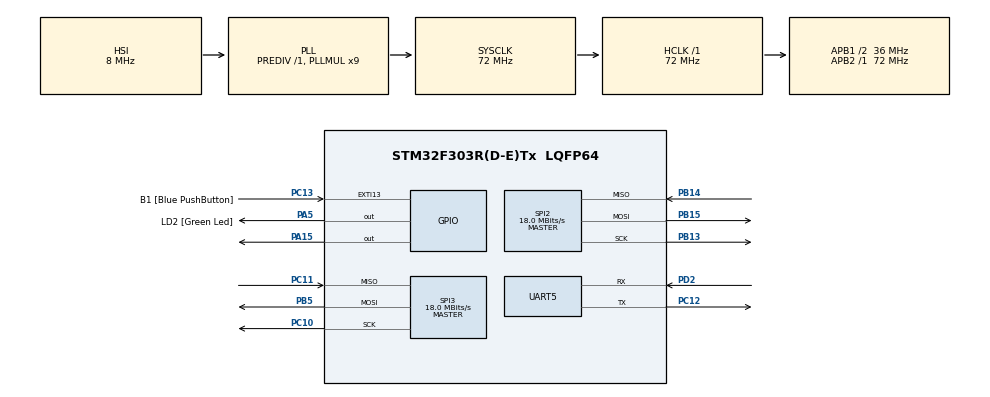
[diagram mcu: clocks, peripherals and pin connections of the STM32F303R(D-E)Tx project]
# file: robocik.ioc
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Mcu.Family=STM32F3
Mcu.Name=STM32F303R(D-E)Tx
Mcu.Package=LQFP64
NVIC.PriorityGroup=NVIC_PRIORITYGROUP_0
PA13.GPIO_Label=TMS
PA13.Signal=SYS_JTMS-SWDIO
PA14.GPIO_Label=TCK
PA14.Signal=SYS_JTCK-SWCLK
PA15.Signal=GPIO_Output
PA2.GPIO_Label=USART_TX
PA2.GPIO_Mode=GPIO_MODE_AF_PP
PA2.GPIO_PuPd=GPIO_NOPULL
PA2.GPIO_Speed=GPIO_SPEED_FREQ_LOW
PA2.Signal=USART2_TX
PA3.GPIO_Label=USART_RX
PA3.GPIO_Mode=GPIO_MODE_AF_PP
PA3.GPIO_PuPd=GPIO_NOPULL
PA3.GPIO_Speed=GPIO_SPEED_FREQ_LOW
PA3.Signal=USART2_RX
PA5.GPIO_Label=LD2 [Green Led]
PA5.GPIO_Mode=GPIO_MODE_OUTPUT_PP
PA5.GPIO_PuPd=GPIO_NOPULL
PA5.GPIO_Speed=GPIO_SPEED_FREQ_LOW
PA5.Signal=GPIO_Output
PB13.Mode=Full_Duplex_Master
PB13.Signal=SPI2_SCK
PB14.Mode=Full_Duplex_Master
PB14.Signal=SPI2_MISO
PB15.Mode=Full_Duplex_Master
PB15.Signal=SPI2_MOSI
PB3.GPIO_Label=SWO
PB3.Signal=SYS_JTDO-TRACESWO
PB5.Mode=Full_Duplex_Master
PB5.Signal=SPI3_MOSI
PC10.Mode=Full_Duplex_Master
PC10.Signal=SPI3_SCK
PC11.Mode=Full_Duplex_Master
PC11.Signal=SPI3_MISO
PC12.Mode=Asynchronous
PC12.Signal=UART5_TX
PC13.GPIO_Label=B1 [Blue PushButton]
PC13.GPIO_ModeDefaultEXTI=GPIO_MODE_IT_FALLING
PC13.Signal=GPXTI13
PC14-OSC32_IN.Signal=RCC_OSC32_IN
PC15-OSC32_OUT.Signal=RCC_OSC32_OUT
PD2.Mode=Asynchronous
PD2.Signal=UART5_RX
PF0-OSC_IN.Signal=RCC_OSC_IN
PF1-OSC_OUT.Signal=RCC_OSC_OUT
ProjectManager.HeapSize=0x200
ProjectManager.StackSize=0x400
ProjectManager.TargetToolchain=TrueSTUDIO
RCC.AHBFreq_Value=72000000
RCC.APB1CLKDivider=RCC_HCLK_DIV2
RCC.APB1Freq_Value=36000000
RCC.APB1TimFreq_Value=72000000
RCC.APB2Freq_Value=72000000
RCC.APB2TimFreq_Value=72000000
RCC.CortexFreq_Value=72000000
RCC.HCLKFreq_Value=72000000
RCC.HSE_VALUE=8000000
RCC.HSI_VALUE=8000000
RCC.LSE_VALUE=32768
RCC.PLLM=8
RCC.PLLMUL=RCC_PLL_MUL9
RCC.PLLN=336
RCC.PLLP=RCC_PLLP_DIV4
RCC.PLLQ=7
RCC.RCC_PLLsource_Clock_Source_FROM_HSE=RCC_HSE_PREDIV_DIV2
RCC.SYSCLKFreq_VALUE=72000000
RCC.SYSCLKSourceVirtual=RCC_SYSCLKSOURCE_PLLCLK
RCC.USBFreq_Value=72000000
SPI2.CalculateBaudRate=18.0 MBits/s
SPI2.Direction=SPI_DIRECTION_2LINES
SPI2.Mode=SPI_MODE_MASTER
SPI2.VirtualType=VM_MASTER
SPI3.CalculateBaudRate=18.0 MBits/s
SPI3.Direction=SPI_DIRECTION_2LINES
SPI3.Mode=SPI_MODE_MASTER
SPI3.VirtualType=VM_MASTER
board=NUCLEO-F303RE

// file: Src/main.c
/**
  ******************************************************************************
  * @file           : main.c
  * @brief          : Main program body
  ******************************************************************************
  ** This notice applies to any and all portions of this file
  * that are not between comment pairs USER CODE BEGIN and
  * USER CODE END. Other portions of this file, whether
  * inserted by the user or by software development tools
  * are owned by their respective copyright owners.
  *
  * COPYRIGHT(c) 2018 STMicroelectronics
  *
  * Redistribution and use in source and binary forms, with or without modification,
  * are permitted provided that the following conditions are met:
  *   1. Redistributions of source code must retain the above copyright notice,
  *      this list of conditions and the following disclaimer.
  *   2. Redistributions in binary form must reproduce the above copyright notice,
  *      this list of conditions and the following disclaimer in the documentation
  *      and/or other materials provided with the distribution.
  *   3. Neither the name of STMicroelectronics nor the names of its contributors
  *      may be used to endorse or promote products derived from this software
  *      without specific prior written permission.
  *
  * THIS SOFTWARE IS PROVIDED BY THE COPYRIGHT HOLDERS AND CONTRIBUTORS "AS IS"
  * AND ANY EXPRESS OR IMPLIED WARRANTIES, INCLUDING, BUT NOT LIMITED TO, THE
  * IMPLIED WARRANTIES OF MERCHANTABILITY AND FITNESS FOR A PARTICULAR PURPOSE ARE
  * DISCLAIMED. IN NO EVENT SHALL THE COPYRIGHT HOLDER OR CONTRIBUTORS BE LIABLE
  * FOR ANY DIRECT, INDIRECT, INCIDENTAL, SPECIAL, EXEMPLARY, OR CONSEQUENTIAL
  * DAMAGES (INCLUDING, BUT NOT LIMITED TO, PROCUREMENT OF SUBSTITUTE GOODS OR
  * SERVICES; LOSS OF USE, DATA, OR PROFITS; OR BUSINESS INTERRUPTION) HOWEVER
  * CAUSED AND ON ANY THEORY OF LIABILITY, WHETHER IN CONTRACT, STRICT LIABILITY,
  * OR TORT (INCLUDING NEGLIGENCE OR OTHERWISE) ARISING IN ANY WAY OUT OF THE USE
  * OF THIS SOFTWARE, EVEN IF ADVISED OF THE POSSIBILITY OF SUCH DAMAGE.
  *
  ******************************************************************************
  */
#include "main.h"
#include "stm32f3xx_hal.h"

/* USER CODE BEGIN Includes */
#include "defines.h"
#include "tm_stm32_disco.h"
#include "tm_stm32_delay.h"
#include "tm_stm32_fatfs.h"
#include "tm_stm32_lcd.h"
#include "stdio.h"

/* USER CODE END Includes */

SPI_HandleTypeDef hspi2;
SPI_HandleTypeDef hspi3;

UART_HandleTypeDef huart5;

/* USER CODE BEGIN PV */
/* Private variables ---------------------------------------------------------*/
uint8_t check = 0;

/* Fatfs structure */

FATFS mynewdiskFatFs;  /* File system object for User logical drive */
FIL MyFile;            /* File object */
FRESULT fres;

/* Size structure for FATFS */
TM_FATFS_Size_t CardSize;

/* Buffer variable */
char buffer[100];

/* USER CODE END PV */

void SystemClock_Config(void);
static void MX_GPIO_Init(void);
static void MX_SPI2_Init(void);
static void MX_UART5_Init(void);
static void MX_SPI3_Init(void);

/* USER CODE BEGIN PFP */
/* Private function prototypes -----------------------------------------------*/

uint8_t toSyncWrite(); //Przygotowuje tablicê danych, zawierajaca instrukcje SyncWrite
void syncWrite (uint8_t *stan); //Przesy³a instrukcjê SyncWrite do Dynamixeli
void turnonLED (); // W³¹cza diodê LED w pojedynczym Dynamixelu
uint8_t readSPI();
void move();

/* USER CODE END PFP */

int main(void)
{

  /* MCU Configuration----------------------------------------------------------*/

  /* Reset of all peripherals, Initializes the Flash interface and the Systick. */
  HAL_Init();

  /* Configure the system clock */
  SystemClock_Config();

  /* Initialize all configured peripherals */
  MX_GPIO_Init();
  MX_SPI2_Init();
  MX_UART5_Init();
  MX_SPI3_Init();
  /* USER CODE BEGIN 2 */

  if(FATFS_LinkDriver(&mynewdisk_Driver, mynewdiskPath) == 0)
    {
      if(f_mount(&mynewdiskFatFs, (TCHAR const*)mynewdiskPath, 0) == FR_OK)
      {
        if(f_open(&MyFile, "STM32.TXT", FA_CREATE_ALWAYS | FA_WRITE) == FR_OK)
        {
          if(f_write(&MyFile, wtext, sizeof(wtext), (void *)&wbytes) == FR_OK);
          {
            f_close(&MyFile);
          }
        }
      }
    }
    FATFS_UnLinkDriver(mynewdiskPath);

  HAL_GPIO_WritePin(GPIOA, GPIO_PIN_15, GPIO_PIN_SET);
  turnonLED();
  //move();

  /* USER CODE END 2 */

  /* Infinite loop */
  /* USER CODE BEGIN WHILE */
  while (1)
  {
	 // HAL_GPIO_TogglePin(GPIOA, GPIO_PIN_5);
	 //    HAL_Delay(500);
  /* USER CODE END WHILE */

  }

}

void SystemClock_Config(void)
{

  RCC_OscInitTypeDef RCC_OscInitStruct;
  RCC_ClkInitTypeDef RCC_ClkInitStruct;
  RCC_PeriphCLKInitTypeDef PeriphClkInit;

    /**Initializes the CPU, AHB and APB busses clocks
    */
  RCC_OscInitStruct.OscillatorType = RCC_OSCILLATORTYPE_HSI;
  RCC_OscInitStruct.HSIState = RCC_HSI_ON;
  RCC_OscInitStruct.HSICalibrationValue = 16;
  RCC_OscInitStruct.PLL.PLLState = RCC_PLL_ON;
  RCC_OscInitStruct.PLL.PLLSource = RCC_PLLSOURCE_HSI;
  RCC_OscInitStruct.PLL.PLLMUL = RCC_PLL_MUL9;
  RCC_OscInitStruct.PLL.PREDIV = RCC_PREDIV_DIV1;
  if (HAL_RCC_OscConfig(&RCC_OscInitStruct) != HAL_OK)
  {
    _Error_Handler(__FILE__, __LINE__);
  }

    /**Initializes the CPU, AHB and APB busses clocks
    */
  RCC_ClkInitStruct.ClockType = RCC_CLOCKTYPE_HCLK|RCC_CLOCKTYPE_SYSCLK
                              |RCC_CLOCKTYPE_PCLK1|RCC_CLOCKTYPE_PCLK2;
  RCC_ClkInitStruct.SYSCLKSource = RCC_SYSCLKSOURCE_PLLCLK;
  RCC_ClkInitStruct.AHBCLKDivider = RCC_SYSCLK_DIV1;
  RCC_ClkInitStruct.APB1CLKDivider = RCC_HCLK_DIV2;
  RCC_ClkInitStruct.APB2CLKDivider = RCC_HCLK_DIV1;

  if (HAL_RCC_ClockConfig(&RCC_ClkInitStruct, FLASH_LATENCY_2) != HAL_OK)
  {
    _Error_Handler(__FILE__, __LINE__);
  }

  PeriphClkInit.PeriphClockSelection = RCC_PERIPHCLK_UART5;
  PeriphClkInit.Uart5ClockSelection = RCC_UART5CLKSOURCE_PCLK1;
  if (HAL_RCCEx_PeriphCLKConfig(&PeriphClkInit) != HAL_OK)
  {
    _Error_Handler(__FILE__, __LINE__);
  }

    /**Configure the Systick interrupt time
    */
  HAL_SYSTICK_Config(HAL_RCC_GetHCLKFreq()/1000);

    /**Configure the Systick
    */
  HAL_SYSTICK_CLKSourceConfig(SYSTICK_CLKSOURCE_HCLK);

  /* SysTick_IRQn interrupt configuration */
  HAL_NVIC_SetPriority(SysTick_IRQn, 0, 0);
}

/* SPI2 init function */
static void MX_SPI2_Init(void)
{

  /* SPI2 parameter configuration*/
  hspi2.Instance = SPI2;
  hspi2.Init.Mode = SPI_MODE_MASTER;
  hspi2.Init.Direction = SPI_DIRECTION_2LINES;
  hspi2.Init.DataSize = SPI_DATASIZE_4BIT;
  hspi2.Init.CLKPolarity = SPI_POLARITY_LOW;
  hspi2.Init.CLKPhase = SPI_PHASE_1EDGE;
  hspi2.Init.NSS = SPI_NSS_SOFT;
  hspi2.Init.BaudRatePrescaler = SPI_BAUDRATEPRESCALER_2;
  hspi2.Init.FirstBit = SPI_FIRSTBIT_MSB;
  hspi2.Init.TIMode = SPI_TIMODE_DISABLE;
  hspi2.Init.CRCCalculation = SPI_CRCCALCULATION_DISABLE;
  hspi2.Init.CRCPolynomial = 7;
  hspi2.Init.CRCLength = SPI_CRC_LENGTH_DATASIZE;
  hspi2.Init.NSSPMode = SPI_NSS_PULSE_ENABLE;
  if (HAL_SPI_Init(&hspi2) != HAL_OK)
  {
    _Error_Handler(__FILE__, __LINE__);
  }

}

/* SPI3 init function */
static void MX_SPI3_Init(void)
{

  /* SPI3 parameter configuration*/
  hspi3.Instance = SPI3;
  hspi3.Init.Mode = SPI_MODE_MASTER;
  hspi3.Init.Direction = SPI_DIRECTION_2LINES;
  hspi3.Init.DataSize = SPI_DATASIZE_4BIT;
  hspi3.Init.CLKPolarity = SPI_POLARITY_LOW;
  hspi3.Init.CLKPhase = SPI_PHASE_1EDGE;
  hspi3.Init.NSS = SPI_NSS_SOFT;
  hspi3.Init.BaudRatePrescaler = SPI_BAUDRATEPRESCALER_2;
  hspi3.Init.FirstBit = SPI_FIRSTBIT_MSB;
  hspi3.Init.TIMode = SPI_TIMODE_DISABLE;
  hspi3.Init.CRCCalculation = SPI_CRCCALCULATION_DISABLE;
  hspi3.Init.CRCPolynomial = 7;
  hspi3.Init.CRCLength = SPI_CRC_LENGTH_DATASIZE;
  hspi3.Init.NSSPMode = SPI_NSS_PULSE_ENABLE;
  if (HAL_SPI_Init(&hspi3) != HAL_OK)
  {
    _Error_Handler(__FILE__, __LINE__);
  }

}

/* UART5 init function */
static void MX_UART5_Init(void)
{

  huart5.Instance = UART5;
  huart5.Init.BaudRate = 115200;
  huart5.Init.WordLength = UART_WORDLENGTH_8B;
  huart5.Init.StopBits = UART_STOPBITS_1;
  huart5.Init.Parity = UART_PARITY_NONE;
  huart5.Init.Mode = UART_MODE_TX_RX;
  huart5.Init.HwFlowCtl = UART_HWCONTROL_NONE;
  huart5.Init.OverSampling = UART_OVERSAMPLING_16;
  huart5.Init.OneBitSampling = UART_ONE_BIT_SAMPLE_DISABLE;
  huart5.AdvancedInit.AdvFeatureInit = UART_ADVFEATURE_NO_INIT;
  if (HAL_UART_Init(&huart5) != HAL_OK)
  {
    _Error_Handler(__FILE__, __LINE__);
  }

}

/** Configure pins as
        * Analog
        * Input
        * Output
        * EVENT_OUT
        * EXTI
     PA2   ------> USART2_TX
     PA3   ------> USART2_RX
*/
static void MX_GPIO_Init(void)
{

  GPIO_InitTypeDef GPIO_InitStruct;

  /* GPIO Ports Clock Enable */
  __HAL_RCC_GPIOC_CLK_ENABLE();
  __HAL_RCC_GPIOF_CLK_ENABLE();
  __HAL_RCC_GPIOA_CLK_ENABLE();
  __HAL_RCC_GPIOB_CLK_ENABLE();
  __HAL_RCC_GPIOD_CLK_ENABLE();

  /*Configure GPIO pin Output Level */
  HAL_GPIO_WritePin(GPIOA, LD2_Pin|GPIO_PIN_15, GPIO_PIN_RESET);

  /*Configure GPIO pin : B1_Pin */
  GPIO_InitStruct.Pin = B1_Pin;
  GPIO_InitStruct.Mode = GPIO_MODE_IT_FALLING;
  GPIO_InitStruct.Pull = GPIO_NOPULL;
  HAL_GPIO_Init(B1_GPIO_Port, &GPIO_InitStruct);

  /*Configure GPIO pins : USART_TX_Pin USART_RX_Pin */
  GPIO_InitStruct.Pin = USART_TX_Pin|USART_RX_Pin;
  GPIO_InitStruct.Mode = GPIO_MODE_AF_PP;
  GPIO_InitStruct.Pull = GPIO_NOPULL;
  GPIO_InitStruct.Speed = GPIO_SPEED_FREQ_LOW;
  GPIO_InitStruct.Alternate = GPIO_AF7_USART2;
  HAL_GPIO_Init(GPIOA, &GPIO_InitStruct);

  /*Configure GPIO pins : LD2_Pin PA15 */
  GPIO_InitStruct.Pin = LD2_Pin|GPIO_PIN_15;
  GPIO_InitStruct.Mode = GPIO_MODE_OUTPUT_PP;
  GPIO_InitStruct.Pull = GPIO_NOPULL;
  GPIO_InitStruct.Speed = GPIO_SPEED_FREQ_LOW;
  HAL_GPIO_Init(GPIOA, &GPIO_InitStruct);

}

/* USER CODE BEGIN 4 */

uint8_t toSyncWrite() //Kontroluje kilka Dynamixeli na raz. Ta sama instrukcja dla wszystkich, parametry instrukcji dla ka¿dego Dynamixela oddzielnie, po ID
{
	uint8_t sent[11]; //Tworzy tablicê, która bêdzie wysy³ana
	sent[0] = 0xFF;
	sent[1] = 0xFF;
	sent[2] = 0xFE; //ID - dla SyncWrite jak dla broadcastu
	sent[3] = (4+1) + 4; // D³ugoœc calej instrukcji
	sent[4] = 0x83; //Wysy³ana instrukcja
	sent[5] = 0x1E; //Adres pocz¹tkowy pamiêci
	sent[6] = 0x04;//D³ugoœ
	sent[7] = 0x00;//ID1
	sent[8] = 0x10;
	sent[9] = 0x00;
	sent[10] = 0x50;
	sent[11] = 0x01;
	return &sent;
}
void turnonLED()
{
	check = 1;
	uint8_t sent[9];
		sent[0] = 0xFF;
		sent[1] = 0xFF;
		sent[2] = 0xFE; //ID
		sent[3] = 0x05; // Length
		sent[4] = 0x03; //Instruction?
		sent[5] = 0x18;//Value1?->Adress
		sent[6] = 0x01;//Value2?
		sent[7] = 0x01;
		sent[8] = ~(sent[2] + sent[3] + sent[4] + sent[5]+sent[6]+sent[7]); // checksum
		HAL_UART_Transmit(&huart5,&sent,9,100);
}
void move()
{
	check = 1;
	uint8_t sent[11];
		sent[0] = 0xFF;
		sent[1] = 0xFF;
		sent[2] = 0x03; //ID
		sent[3] = 0x07; // Length
		sent[4] = 0x03;
		sent[5] = 0x1E;
		sent[6] = 0x00;
		sent[7] = 0x02;
		sent[8] = 0x00;
		sent[9] = 0x02;
		sent[10] = ~(sent[2] + sent[3] + sent[4] + sent[5]+sent[6]+sent[7] + sent[8]+sent[9]); //checksum
		HAL_UART_Transmit(&huart5,&sent,11,100);
}
void syncWrite (uint8_t *stan)
{
	HAL_UART_Transmit(&huart5, &stan,8,100);
}

uint8_t readSPI()
{

	uint8_t data[12];
	HAL_SPI_Receive(&hspi2, data, 12, 0xFF);
	return &data;
}

/* USER CODE END 4 */

void _Error_Handler(char *file, int line)
{
  while(1)
  {
  }
}

/************************ (C) COPYRIGHT STMicroelectronics *****END OF FILE****/
